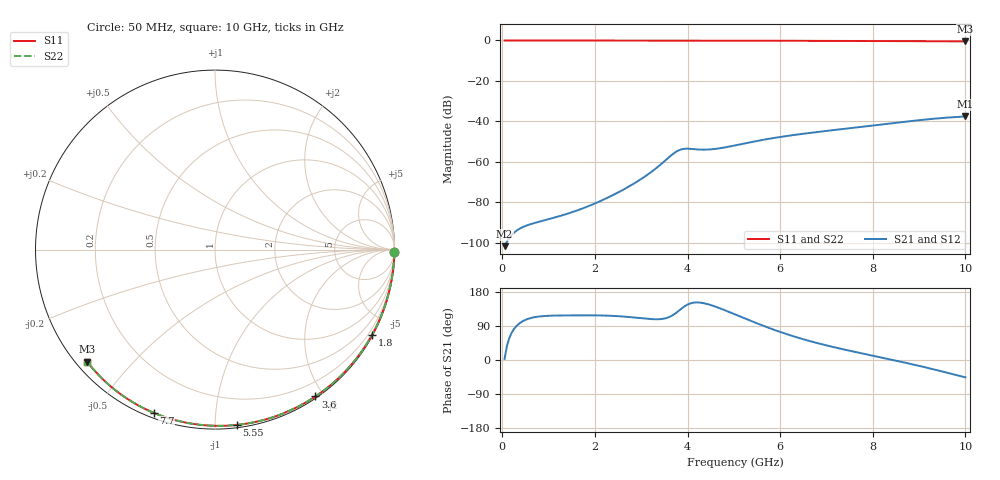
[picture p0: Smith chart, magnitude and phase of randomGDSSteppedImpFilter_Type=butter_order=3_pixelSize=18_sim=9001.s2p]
! freq	dB(S11)	phase(S11)	dB(S12)	phase(S12)
!  dB(S21)	phase(S21)	dB(S22)	phase(S22)
!S-par simulation data
#  GHz  S  DB  R 50
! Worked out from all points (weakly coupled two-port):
!   200 points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, 50 MHz to 10 GHz, reference 50 ohm
!   highest |S21| = -37.61 dB at 10 GHz (marker M1); lowest = -101.8 dB at 50 MHz (marker M2)
!   lowest |S11| = -0.5 dB at 10 GHz (marker M3), VSWR 36.82, Z = 1.55 - j18.8 ohm
!   |S11| at or under -10 dB: nowhere
!   |S22| runs from -0.5 to 0.0 dB; largest |S21 - S12| = 0
!   S11 on the Smith chart (normalised r, x): 50 MHz: open; 1.8 GHz: 0.03, -3.94; 3.6 GHz: 0.02, -1.90; 5.55 GHz: 0.02, -1.13; 7.7 GHz: 0.02, -0.69; 10 GHz: 0.03, -0.38
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0.05  -0.00 -0.8  -101.77 3.1  -101.77 3.1  -0.00 -0.8
0.9  -0.02 -14.4  -89.04 116.0  -89.04 116.0  -0.02 -14.4
1.75  -0.03 -27.7  -82.96 117.9  -82.96 117.9  -0.03 -27.7
1.8  -0.04 -28.5  -82.52 117.9  -82.52 117.9  -0.04 -28.5
2.05  -0.04 -32.3  -80.14 117.7  -80.14 117.7  -0.04 -32.3
2.4  -0.05 -37.7  -76.39 116.4  -76.39 116.4  -0.05 -37.7
2.9  -0.06 -45.3  -70.01 111.5  -70.01 111.5  -0.06 -45.3
3.15  -0.06 -49.0  -66.18 108.5  -66.18 108.5  -0.06 -49.0
3.4  -0.07 -52.7  -61.76 107.7  -61.76 107.7  -0.07 -52.7
3.6  -0.08 -55.6  -57.76 113.2  -57.76 113.2  -0.08 -55.6
3.75  -0.08 -57.8  -55.09 124.0  -55.09 124.0  -0.08 -57.8
3.9  -0.08 -60.0  -53.70 138.5  -53.70 138.5  -0.08 -60.0
4.5  -0.10 -68.5  -53.88 145.0  -53.88 145.0  -0.10 -68.4
4.75  -0.11 -72.0  -53.14 134.0  -53.14 134.0  -0.11 -72.0
5.05  -0.12 -76.1  -51.82 119.2  -51.82 119.2  -0.12 -76.1
5.55  -0.14 -82.9  -49.51 94.4  -49.51 94.4  -0.14 -82.9
6.05  -0.16 -89.5  -47.57 72.0  -47.57 72.0  -0.16 -89.5
6.7  -0.19 -98.0  -45.58 47.9  -45.58 47.9  -0.19 -98.0
7.7  -0.25 -110.6  -42.87 19.1  -42.87 19.1  -0.25 -110.6
8.35  -0.30 -118.7  -41.12 2.2  -41.12 2.2  -0.30 -118.7
9.3  -0.39 -130.3  -38.77 -24.2  -38.77 -24.2  -0.39 -130.2
10  -0.47 -138.7  -37.61 -45.9  -37.61 -45.9  -0.47 -138.7
